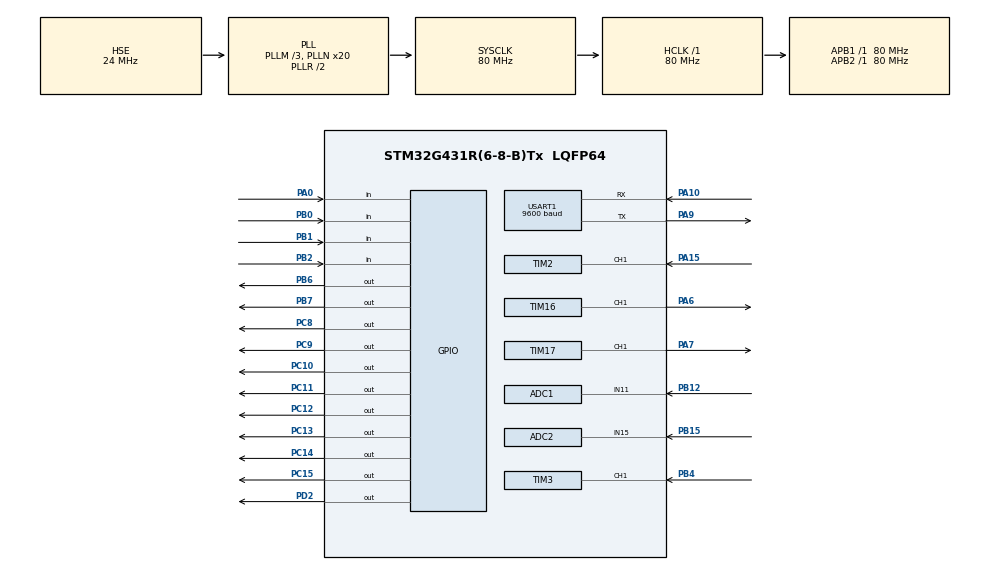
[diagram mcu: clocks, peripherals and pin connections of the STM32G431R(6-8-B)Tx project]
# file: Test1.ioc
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ADC1.Channel-0\#ChannelRegularConversion=ADC_CHANNEL_11
ADC1.NbrOfConversionFlag=1
ADC1.OffsetNumber-0\#ChannelRegularConversion=ADC_OFFSET_NONE
ADC1.Rank-0\#ChannelRegularConversion=1
ADC1.SamplingTime-0\#ChannelRegularConversion=ADC_SAMPLETIME_2CYCLES_5
ADC1.master=1
ADC2.Channel-0\#ChannelRegularConversion=ADC_CHANNEL_15
ADC2.NbrOfConversionFlag=1
ADC2.OffsetNumber-0\#ChannelRegularConversion=ADC_OFFSET_NONE
ADC2.Rank-0\#ChannelRegularConversion=1
ADC2.SamplingTime-0\#ChannelRegularConversion=ADC_SAMPLETIME_2CYCLES_5
Mcu.Family=STM32G4
Mcu.Name=STM32G431R(6-8-B)Tx
Mcu.Package=LQFP64
NVIC.PriorityGroup=NVIC_PRIORITYGROUP_4
NVIC.TIM2_IRQn=true\:0\:0\:false\:false\:true\:true\:true\:true
NVIC.TIM3_IRQn=true\:0\:0\:false\:false\:true\:true\:true\:true
NVIC.TIM4_IRQn=true\:0\:0\:false\:false\:true\:true\:true\:true
NVIC.USART1_IRQn=true\:0\:0\:false\:false\:true\:true\:true\:true
PA0.GPIO_PuPd=GPIO_PULLUP
PA0.Signal=GPIO_Input
PA10.Mode=Asynchronous
PA10.Signal=USART1_RX
PA13.Mode=Serial_Wire
PA13.Signal=SYS_JTMS-SWDIO
PA14.Mode=Serial_Wire
PA14.Signal=SYS_JTCK-SWCLK
PA15.Signal=S_TIM2_CH1
PA6.Signal=S_TIM16_CH1
PA7.Signal=S_TIM17_CH1
PA9.Mode=Asynchronous
PA9.Signal=USART1_TX
PB0.GPIO_PuPd=GPIO_PULLUP
PB0.Signal=GPIO_Input
PB1.GPIO_PuPd=GPIO_PULLUP
PB1.Signal=GPIO_Input
PB12.Mode=IN11-Single-Ended
PB12.Signal=ADC1_IN11
PB15.Mode=IN15-Single-Ended
PB15.Signal=ADC2_IN15
PB2.GPIO_PuPd=GPIO_PULLUP
PB2.Signal=GPIO_Input
PB4.Signal=S_TIM3_CH1
PB6.Signal=GPIO_Output
PB7.Signal=GPIO_Output
PC10.PinState=GPIO_PIN_SET
PC10.Signal=GPIO_Output
PC11.PinState=GPIO_PIN_SET
PC11.Signal=GPIO_Output
PC12.PinState=GPIO_PIN_SET
PC12.Signal=GPIO_Output
PC13.PinState=GPIO_PIN_SET
PC13.Signal=GPIO_Output
PC14-OSC32_IN.PinState=GPIO_PIN_SET
PC14-OSC32_IN.Signal=GPIO_Output
PC15-OSC32_OUT.PinState=GPIO_PIN_SET
PC15-OSC32_OUT.Signal=GPIO_Output
PC8.PinState=GPIO_PIN_SET
PC8.Signal=GPIO_Output
PC9.PinState=GPIO_PIN_SET
PC9.Signal=GPIO_Output
PD2.Signal=GPIO_Output
PF0-OSC_IN.Mode=HSE-External-Oscillator
PF0-OSC_IN.Signal=RCC_OSC_IN
PF1-OSC_OUT.Mode=HSE-External-Oscillator
PF1-OSC_OUT.Signal=RCC_OSC_OUT
ProjectManager.HeapSize=0x200
ProjectManager.StackSize=0x400
ProjectManager.TargetToolchain=MDK-ARM V5.32
RCC.ADC12Freq_Value=80000000
RCC.AHBFreq_Value=80000000
RCC.APB1Freq_Value=80000000
RCC.APB1TimFreq_Value=80000000
RCC.APB2Freq_Value=80000000
RCC.APB2TimFreq_Value=80000000
RCC.CortexFreq_Value=80000000
RCC.EXTERNAL_CLOCK_VALUE=12288000
RCC.HCLKFreq_Value=80000000
RCC.HSE_VALUE=24000000
RCC.HSI48_VALUE=48000000
RCC.HSI_VALUE=16000000
RCC.LSE_VALUE=32768
RCC.PLLM=RCC_PLLM_DIV3
RCC.PLLN=20
RCC.PLLSourceVirtual=RCC_PLLSOURCE_HSE
RCC.SYSCLKFreq_VALUE=80000000
RCC.SYSCLKSource=RCC_SYSCLKSOURCE_PLLCLK
RCC.USBFreq_Value=80000000
RCC.VCOOutputFreq_Value=160000000
SH.S_TIM16_CH1.0=TIM16_CH1,PWM Generation1 CH1
SH.S_TIM17_CH1.0=TIM17_CH1,PWM Generation1 CH1
SH.S_TIM2_CH1.0=TIM2_CH1,Input_Capture1_from_TI1
SH.S_TIM3_CH1.0=TIM3_CH1,Input_Capture1_from_TI1
TIM16.Channel=TIM_CHANNEL_1
TIM16.PeriodNoDither=100-1
TIM16.Prescaler=8000-1
TIM16.PulseNoDither_1=20
TIM16.RepetitionCounter=0
TIM17.Channel=TIM_CHANNEL_1
TIM17.PeriodNoDither=100-1
TIM17.Prescaler=4000-1
TIM17.PulseNoDither_1=20
TIM2.Channel-Input_Capture1_from_TI1=TIM_CHANNEL_1
TIM2.Prescaler=80-1
TIM3.Channel-Input_Capture1_from_TI1=TIM_CHANNEL_1
TIM3.PeriodNoDither=10000-1
TIM3.Prescaler=80-1
TIM4.PeriodNoDither=10000-1
TIM4.Prescaler=80-1
USART1.BaudRate=9600
USART1.VirtualMode-Asynchronous=VM_ASYNC
VP_SYS_VS_DBSignals.Mode=DisableDeadBatterySignals
VP_TIM16_VS_ClockSourceINT.Mode=Enable_Timer
VP_TIM17_VS_ClockSourceINT.Mode=Enable_Timer
VP_TIM2_VS_ClockSourceINT.Mode=Internal
VP_TIM3_VS_ClockSourceINT.Mode=Internal
VP_TIM4_VS_ClockSourceINT.Mode=Internal
board=custom

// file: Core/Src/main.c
/* USER CODE BEGIN Header */
/**
  ******************************************************************************
  * @file           : main.c
  * @brief          : Main program body
  ******************************************************************************
  * @attention
  *
  * Copyright (c) 2023 STMicroelectronics.
  * All rights reserved.
  *
  * This software is licensed under terms that can be found in the LICENSE file
  * in the root directory of this software component.
  * If no LICENSE file comes with this software, it is provided AS-IS.
  *
  ******************************************************************************
  */
/* USER CODE END Header */
#include "main.h"
#include "adc.h"
#include "tim.h"
#include "usart.h"
#include "gpio.h"

/* USER CODE BEGIN Includes */

#include "interrupt.h"
#include "led.h"
#include "badc.h"
#include "i2c_hal.h"
#include "string.h"

/* USER CODE END Includes */

/* USER CODE BEGIN PTD */

extern struct keys key[4];
extern uint frq1,frq2;
extern char rx_data[30];
extern uint8_t rx_dat;
extern uchar rx_pointer;
extern bool led7_flag;
uint16_t view=0;
uint pa6_duty=10;
uint16_t pa7_duty=10;
uint16_t fre=99;
char usart[5]={0,0,0,0,0};
/* USER CODE END PTD */

void SystemClock_Config(void);

/* USER CODE BEGIN 0 */
void key_proc(void);
void disp_proc(void);
void eep_w(void);
void led_proc(void);
void uart_rx_proc(void);
void uart_transmit(void);
/* USER CODE END 0 */

int main(void)
{

  /* MCU Configuration--------------------------------------------------------*/

  /* Reset of all peripherals, Initializes the Flash interface and the Systick. */
  HAL_Init();

  /* Configure the system clock */
  SystemClock_Config();

  /* Initialize all configured peripherals */
  MX_GPIO_Init();
  MX_TIM3_Init();
  MX_TIM16_Init();
  MX_TIM17_Init();
  MX_ADC1_Init();
  MX_ADC2_Init();
  MX_TIM2_Init();
  MX_TIM4_Init();
  MX_USART1_UART_Init();
  /* USER CODE BEGIN 2 */
	LCD_Init();

	I2CInit();										//I2C初始化
  /* USER CODE END 2 */

  /* Infinite loop */
  /* USER CODE BEGIN WHILE */
  	LED_dis(0XFF);

	LCD_Clear(Black);
    LCD_SetBackColor(Black);
    LCD_SetTextColor(White);

	HAL_UART_Receive_IT(&huart1,&rx_dat,1);   //UART1初始化

	HAL_TIM_Base_Start_IT(&htim4);

	HAL_TIM_PWM_Start(&htim16,TIM_CHANNEL_1);
	HAL_TIM_PWM_Start(&htim17,TIM_CHANNEL_1);		//PWM开启通道

	HAL_TIM_IC_Start_IT(&htim2,TIM_CHANNEL_1);
	HAL_TIM_IC_Start_IT(&htim3,TIM_CHANNEL_1);		//频率测量捕获定时器开启
  while (1)
  {

    /* USER CODE END WHILE */

    /* USER CODE BEGIN 3 */

	key_proc();
	disp_proc();
	led_proc();
	if(rx_pointer!=0)
	{
		int temp=rx_pointer;
		HAL_Delay(1);
		if(temp==rx_pointer)uart_rx_proc();
	}

  }
  /* USER CODE END 3 */
}

void SystemClock_Config(void)
{
  RCC_OscInitTypeDef RCC_OscInitStruct = {0};
  RCC_ClkInitTypeDef RCC_ClkInitStruct = {0};

  /** Configure the main internal regulator output voltage
  */
  HAL_PWREx_ControlVoltageScaling(PWR_REGULATOR_VOLTAGE_SCALE1);

  /** Initializes the RCC Oscillators according to the specified parameters
  * in the RCC_OscInitTypeDef structure.
  */
  RCC_OscInitStruct.OscillatorType = RCC_OSCILLATORTYPE_HSE;
  RCC_OscInitStruct.HSEState = RCC_HSE_ON;
  RCC_OscInitStruct.PLL.PLLState = RCC_PLL_ON;
  RCC_OscInitStruct.PLL.PLLSource = RCC_PLLSOURCE_HSE;
  RCC_OscInitStruct.PLL.PLLM = RCC_PLLM_DIV3;
  RCC_OscInitStruct.PLL.PLLN = 20;
  RCC_OscInitStruct.PLL.PLLP = RCC_PLLP_DIV2;
  RCC_OscInitStruct.PLL.PLLQ = RCC_PLLQ_DIV2;
  RCC_OscInitStruct.PLL.PLLR = RCC_PLLR_DIV2;
  if (HAL_RCC_OscConfig(&RCC_OscInitStruct) != HAL_OK)
  {
    Error_Handler();
  }

  /** Initializes the CPU, AHB and APB buses clocks
  */
  RCC_ClkInitStruct.ClockType = RCC_CLOCKTYPE_HCLK|RCC_CLOCKTYPE_SYSCLK
                              |RCC_CLOCKTYPE_PCLK1|RCC_CLOCKTYPE_PCLK2;
  RCC_ClkInitStruct.SYSCLKSource = RCC_SYSCLKSOURCE_PLLCLK;
  RCC_ClkInitStruct.AHBCLKDivider = RCC_SYSCLK_DIV1;
  RCC_ClkInitStruct.APB1CLKDivider = RCC_HCLK_DIV1;
  RCC_ClkInitStruct.APB2CLKDivider = RCC_HCLK_DIV1;

  if (HAL_RCC_ClockConfig(&RCC_ClkInitStruct, FLASH_LATENCY_2) != HAL_OK)
  {
    Error_Handler();
  }
}

/* USER CODE BEGIN 4 */
void key_proc()
{
	if(key[0].single_flag==1)
	{
		LCD_Clear(Black);
		view=!view;
		key[0].single_flag=0;
	}
	if(key[1].single_flag==1)
	{
		pa6_duty+=10;
		if(pa6_duty>=100)pa6_duty=10;
		__HAL_TIM_SetCompare(&htim16,TIM_CHANNEL_1,pa6_duty);
		__HAL_TIM_SET_AUTORELOAD(&htim17,fre);
		key[1].single_flag=0;
	}
	if(key[2].single_flag==1)
	{
		pa7_duty+=10;
		if(pa7_duty>=100)pa7_duty=10;
		__HAL_TIM_SetCompare(&htim17,TIM_CHANNEL_1,pa7_duty);
		uart_transmit();
		key[2].single_flag=0;
	}
	if(key[3].single_flag==1)
	{
	  uchar frq_h=frq2>>8;
      uchar frq_l=frq2&0xff;
      eeprom_write(1,frq_h);
      HAL_Delay(10);
      eeprom_write(2,frq_l);
      HAL_Delay(10);

      LCD_ClearLine(Line8);
	  LED_tog(0x80);
		key[3].single_flag=0;
	}
	if(key[2].long_flag==1)
	{
		LED_on(0x10);
		key[2].long_flag=0;
	}
	if(key[3].long_flag==1)
	{
		LED_off(0x10);
		key[3].long_flag=0;
	}
}

uint32_t disp_tick=0;

void disp_proc()
{
	char text[30];
	if(uwTick -  disp_tick < 50)return ;
	disp_tick = uwTick;
	uint eep_temp;
	if(view==0)
	{
		sprintf(text,"       Data         ");								//参数显示界面（默认界面）
		LCD_DisplayStringLine(Line1, (uint8_t *)text);
		sprintf(text,"       V1:%.2f      ",getADC(&hadc1));
		LCD_DisplayStringLine(Line3, (uint8_t *)text);
		sprintf(text,"       V2:%.2f      ",getADC(&hadc2));
		LCD_DisplayStringLine(Line4, (uint8_t *)text);
		sprintf(text,"       frq1:%d      ",frq1);
		LCD_DisplayStringLine(Line5, (uint8_t *)text);
		sprintf(text,"       frq2:%d      ",frq2);
		LCD_DisplayStringLine(Line6, (uint8_t *)text);

		eep_temp=(eeprom_read(1)<<8)+eeprom_read(2);
		sprintf(text,"       frq2_eep:%d  ",eep_temp);
		LCD_DisplayStringLine(Line8, (uint8_t *)text);
	}
	else if(view==1)
	{
		sprintf(text,"       Para         ");								//数率显示界面
		LCD_DisplayStringLine(Line0, (uint8_t *)text);
		sprintf(text,"    PA6:%d          ",pa6_duty);
		LCD_DisplayStringLine(Line2, (uint8_t *)text);
		sprintf(text,"    PA7:%d          ",pa7_duty);
		LCD_DisplayStringLine(Line3, (uint8_t *)text);

		LCD_DisplayStringLine(Line5, (uint8_t *)usart);

	}

}
void eep_w()
{
	uchar pa6_h=pa6_duty>>8;
	uchar pa6_l=pa6_duty&0xff;
	eeprom_write(1,pa6_h);
	HAL_Delay(10);
	eeprom_write(2,pa6_l);
	HAL_Delay(10);

}
void led_proc()
{
	if(view==0)
	{
		LED_on(0x01);
	}
	if(led7_flag==1)
	{
		LED_tog(0x40);
		led7_flag=0;
	}
}

void uart_rx_proc(void)
{
	if(rx_pointer>0)
	{
		if(rx_pointer==5)
		{
			sscanf(rx_data,"%5s",usart);
			if(strcmp(usart,"fivee")==0)
			{
				LED_tog(0x10);
				memset(&usart,0,sizeof(usart));
			}
		}
		rx_pointer=0;
		memset(rx_data,0,30);
	}
}

void uart_transmit()
{
	char temp[20];							//串口发送错误
	sprintf(temp,"Error\r\n");
	HAL_UART_Transmit(&huart1,(uint8_t*)temp,strlen(temp),50);
}

/* USER CODE END 4 */

void Error_Handler(void)
{
  __disable_irq();
  while (1)
  {
  }
}
